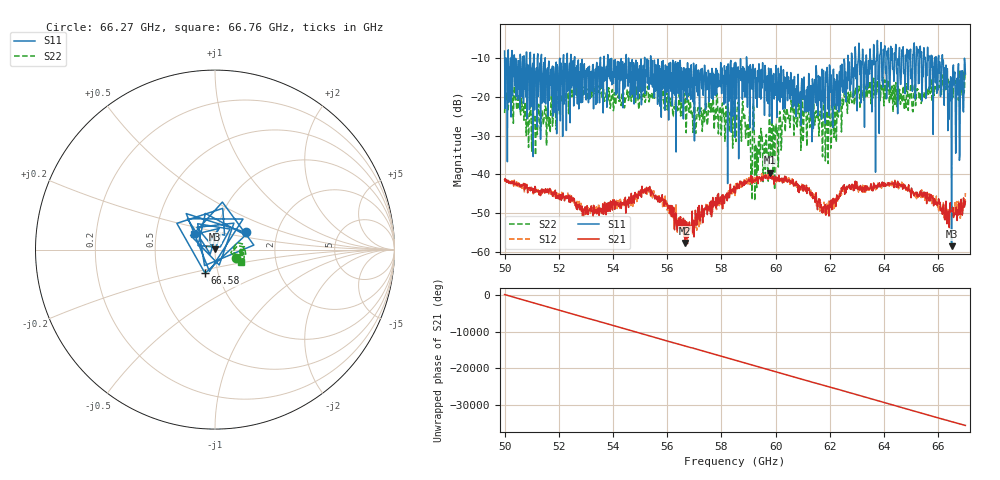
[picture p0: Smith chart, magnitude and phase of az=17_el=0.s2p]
!Created with skrf (http://scikit-rf.org).
# GHz S RI R 50.0
!freq ReS11 ImS11 ReS21 ImS21 ReS12 ImS12 ReS22 ImS22
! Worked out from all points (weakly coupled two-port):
!   1001 points, 50 GHz to 67 GHz, reference 50 ohm
!   highest |S21| = -39.61 dB at 59.77 GHz (marker M1); lowest = -57.8 dB at 56.66 GHz (marker M2)
!   lowest |S11| = -58.6 dB at 66.49 GHz (marker M3), VSWR 1.00, Z = 50.1 + j0.0801 ohm
!   |S11| at or under -10 dB: 52.58 GHz to 53.53 GHz (949.6 MHz wide, 1.79 % of centre); 55.39 GHz to 58.92 GHz (3.533 GHz wide, 6.18 % of centre); 58.93 GHz to 62.66 GHz (3.736 GHz wide, 6.15 % of centre) (the widest 3 of 61)
!   |S22| runs from -46.8 to -13.2 dB; largest |S21 - S12| = 0.002
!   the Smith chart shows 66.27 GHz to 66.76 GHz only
!   S11 on the Smith chart (normalised r, x): 66.27 GHz: 1.38, +0.28; 66.58 GHz: 0.87, -0.23; 66.76 GHz: 0.78, +0.14
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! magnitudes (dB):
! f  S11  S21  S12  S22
! 50 GHz  -8.2  -41.4  -41.9  -24.2
! 50.15 GHz  -21.4  -42.3  -41.8  -20.5
! 51.07 GHz  -9.9  -43.8  -44.3  -25.5
! 52.84 GHz  -12.2  -49.5  -49.8  -19.9
! 55.68 GHz  -13.3  -46.2  -46.5  -21.3
! 56.66 GHz  -13.4  -57.8  -53.7  -20.0
! 58.5 GHz  -30.5  -44.9  -45.5  -23.4
! 58.86 GHz  -20.1  -41.6  -41.8  -24.7
! 59.3 GHz  -15.1  -41.6  -41.5  -43.5
! 59.77 GHz  -25.0  -39.6  -40.1  -24.4
! 60.64 GHz  -15.6  -41.4  -42.3  -23.2
! 61.34 GHz  -31.6  -44.7  -46.0  -28.0
! 61.78 GHz  -17.0  -48.4  -47.2  -21.0
! 62.55 GHz  -11.4  -45.2  -43.3  -19.0
! 64.18 GHz  -12.0  -42.2  -42.3  -17.6
! 66.27 GHz  -14.2  -50.2  -50.1  -18.1
! 66.44 GHz  -21.0  -47.4  -49.2  -16.4
! 66.49 GHz  -58.6  -49.6  -49.1  -15.2
! 66.58 GHz  -16.9  -50.7  -49.0  -15.8
! 66.61 GHz  -13.6  -50.5  -47.4  -16.6
! 66.76 GHz  -16.6  -47.4  -47.6  -15.9
! 67 GHz  -14.1  -47.0  -44.9  -14.3
